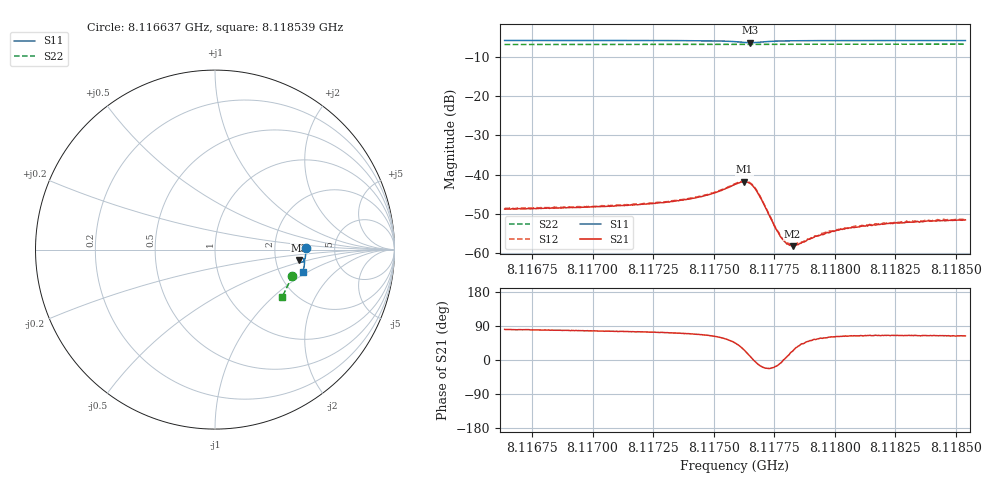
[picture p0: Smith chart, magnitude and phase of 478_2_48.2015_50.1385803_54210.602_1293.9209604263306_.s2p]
#  HZ  S  RI  R  50.00
! Rohde & Schwarz Vector Network Analyzer
! Rohde-Schwarz,ZNB20-2Port,1311601062101988,3.16
! Created: UTC 3/20/2024, 11:57:32 AM
! freq[Hz]  re:S11  im:S11  re:S21  im:S21  re:S12  im:S12  re:S22  im:S22
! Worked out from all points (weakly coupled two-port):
!   401 points, 8.116637 GHz to 8.118539 GHz, reference 50 ohm
!   highest |S21| = -41.79 dB at 8.117626 GHz (marker M1); lowest = -58.2 dB at 8.117826 GHz (marker M2)
!   lowest |S11| = -6.5 dB at 8.11765 GHz (marker M3), VSWR 2.80, Z = 137 - j20.4 ohm
!   |S11| at or under -10 dB: nowhere
!   |S22| runs from -6.9 to -6.8 dB; largest |S21 - S12| = 0.00019
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8.1166373e9  0.5069 0.0116  0.000589 0.00361  0.000628 0.00368  0.4267 -0.1444
8.1169558e9  0.5063 -0.0132  0.000847 0.00376  0.000894 0.0038  0.4198 -0.1654
8.1172743e9  0.504 -0.0389  0.0013 0.00418  0.00135 0.00425  0.4119 -0.1862
8.1173979e9  0.5016 -0.0501  0.00172 0.00455  0.00183 0.00466  0.4086 -0.1943
8.1174645e9  0.4994 -0.0571  0.00221 0.00494  0.0023 0.005  0.4067 -0.1986
8.1175215e9  0.4955 -0.0636  0.00303 0.00533  0.00315 0.00541  0.4046 -0.2023
8.1175881e9  0.4847 -0.0701  0.00532 0.00533  0.00544 0.00537  0.4024 -0.2066
8.1176261e9  0.474 -0.0665  0.00729 0.00361  0.00746 0.00364  0.4008 -0.2085
8.1176499e9  0.4708 -0.058  0.00763 0.00135  0.00778 0.00134  0.4002 -0.2094
8.1176641e9  0.4722 -0.0526  0.00705 -5.62e-06  0.00719 -4.37e-05  0.4 -0.2102
8.1176831e9  0.4776 -0.0476  0.00567 -0.00114  0.00581 -0.00118  0.3998 -0.211
8.1177497e9  0.4936 -0.0519  0.00212 -0.000747  0.00218 -0.000784  0.3985 -0.2155
8.1177782e9  0.4962 -0.0562  0.00157 -0.000196  0.00161 -0.000195  0.3975 -0.2174
8.117802e9  0.4975 -0.0594  0.0013 0.000194  0.00132 0.000186  0.3969 -0.219
8.1178258e9  0.4983 -0.0625  0.00113 0.000486  0.00117 0.000502  0.3963 -0.2205
8.1178495e9  0.4987 -0.0655  0.00103 0.000774  0.0011 0.000774  0.3956 -0.2221
8.1179066e9  0.499 -0.0717  0.000956 0.00123  0.000961 0.00125  0.3936 -0.2258
8.1179541e9  0.4988 -0.0763  0.000916 0.00148  0.000968 0.00152  0.3922 -0.2288
8.1180159e9  0.4981 -0.082  0.00092 0.00174  0.000963 0.00178  0.3899 -0.2326
8.1180872e9  0.4974 -0.088  0.000956 0.00192  0.00102 0.00196  0.3875 -0.2372
8.1182251e9  0.4954 -0.0991  0.00102 0.00218  0.00107 0.00217  0.3829 -0.2454
8.1185389e9  0.49 -0.1229  0.00118 0.00238  0.00125 0.00244  0.3713 -0.2641
